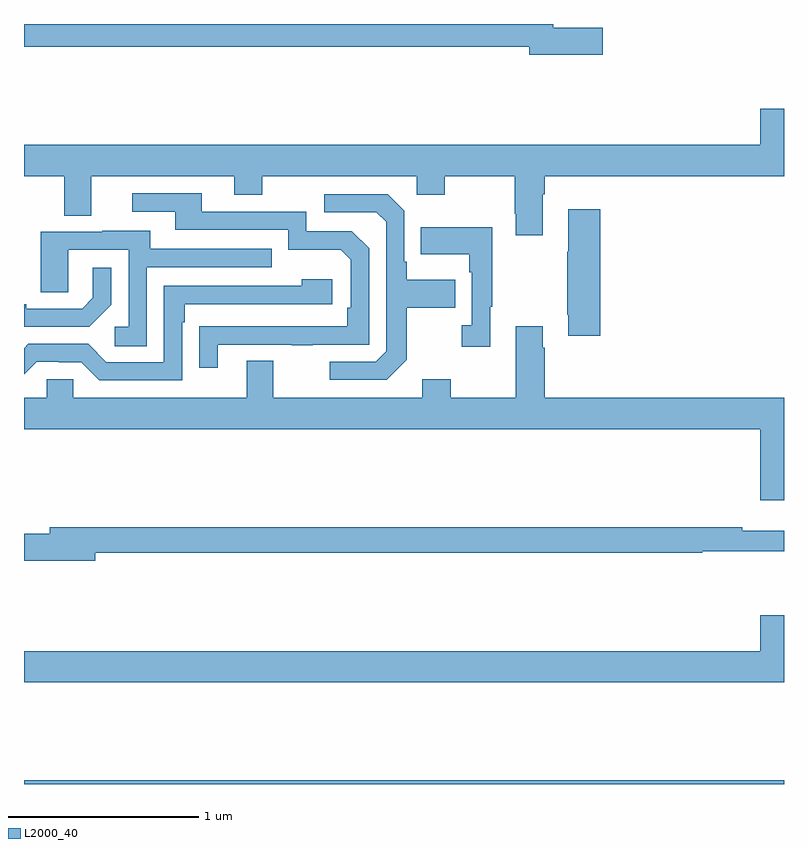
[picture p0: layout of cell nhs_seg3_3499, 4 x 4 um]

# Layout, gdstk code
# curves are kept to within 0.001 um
import gdstk
lib = gdstk.Library(unit=1e-6, precision=1e-09)
def R(c, l, rs):  # rectangles x0, y0, x1, y1
    for r in rs: c.add(gdstk.rectangle(r[:2], r[2:], *l))
def P(c, l, *ps):  # polygons
    for p in ps: c.add(gdstk.Polygon(p, *l))
L2000_40 = (2000, 40)

nhs_seg3_3499 = lib.new_cell('nhs_seg3_3499')
R(nhs_seg3_3499, L2000_40, [(293,680.4,297,680.42)])
P(nhs_seg3_3499, L2000_40, [(296.047,684.38),(295.786,684.38),(295.786,684.4),(293,684.4),(293,684.28),(295.658,684.28),(295.658,684.238),(296.047,684.238)],
  [(295.729,683.504),(295.742,683.504),(295.742,683.6),(297,683.6),(297,683.953),(296.876,683.953),(296.876,683.764),(293,683.764),(293,683.6),(293.213,683.6),(293.213,683.392),(293.353,683.392),(293.353,683.6),(294.107,683.6),(294.107,683.501),(294.255,683.501),(294.255,683.6),(295.068,683.6),(295.068,683.501),(295.215,683.501),(295.215,683.6),(295.582,683.6),(295.582,683.401),(295.589,683.401),(295.589,683.289),(295.729,683.289)],
  [(294.019,682.713),(294.409,682.713),(294.409,682.708),(294.521,682.708),(294.521,682.713),(294.816,682.713),(294.816,683.22),(294.726,683.31),(294.486,683.31),(294.486,683.412),(293.935,683.412),(293.935,683.508),(293.571,683.508),(293.571,683.412),(293.795,683.412),(293.795,683.316),(294.39,683.316),(294.39,683.213),(294.667,683.213),(294.72,683.16),(294.72,682.906),(294.7,682.906),(294.7,682.809),(293.923,682.808),(293.923,682.59),(294.019,682.59)],
  [(295.015,682.633),(295.015,682.906),(295.271,682.906),(295.271,683.053),(295.015,683.053),(295.015,683.149),(295.002,683.149),(295.002,683.418),(294.915,683.505),(294.579,683.505),(294.579,683.409),(294.855,683.409),(294.906,683.358),(294.906,682.677),(294.852,682.623),(294.609,682.623),(294.609,682.527),(294.909,682.527)],
  [(296.033,683.425),(295.865,683.425),(295.865,683.201),(295.858,683.201),(295.858,682.87),(295.865,682.87),(295.865,682.758),(296.033,682.758)],
  [(295.453,682.913),(295.465,682.913),(295.465,683.329),(295.087,683.329),(295.087,683.189),(295.344,683.189),(295.344,683.093),(295.356,683.093),(295.356,682.814),(295.305,682.814),(295.305,682.701),(295.453,682.701)],
  [(293.646,683.121),(294.305,683.121),(294.305,683.217),(293.665,683.217),(293.665,683.311),(293.411,683.311),(293.411,683.307),(293.087,683.307),(293.087,682.987),(293.232,682.987),(293.232,683.211),(293.55,683.211),(293.55,682.806),(293.478,682.806),(293.478,682.705),(293.646,682.705)],
  [(293.46,682.922),(293.46,683.116),(293.363,683.116),(293.363,682.959),(293.306,682.902),(293.011,682.902),(293.011,682.925),(293,682.925),(293,682.806),(293.344,682.806)],
  [(293.832,682.829),(293.845,682.829),(293.845,682.926),(294.622,682.926),(294.622,683.056),(294.461,683.056),(294.461,683.022),(293.736,683.022),(293.736,682.62),(293.433,682.62),(293.337,682.716),(293.022,682.716),(293,682.694),(293,682.556),(293.067,682.623),(293.183,682.623),(293.183,682.62),(293.301,682.62),(293.397,682.524),(293.832,682.524)],
  [(297,682.432),(295.742,682.432),(295.742,682.697),(295.729,682.697),(295.729,682.81),(295.589,682.81),(295.589,682.432),(295.245,682.432),(295.245,682.531),(295.097,682.531),(295.097,682.432),(294.313,682.432),(294.313,682.627),(294.173,682.627),(294.173,682.432),(293.259,682.432),(293.259,682.53),(293.121,682.53),(293.121,682.432),(293,682.432),(293,682.268),(296.876,682.268),(296.876,681.894),(297,681.894)],
  [(293.374,681.616),(296.57,681.616),(296.57,681.624),(297,681.624),(297,681.733),(296.78,681.733),(296.78,681.752),(293.135,681.752),(293.135,681.716),(293,681.716),(293,681.574),(293.374,681.574)],
  [(297,681.289),(296.876,681.289),(296.876,681.1),(293,681.1),(293,680.936),(297,680.936)])

lib.write_gds('nhs_seg3_3499.gds')
